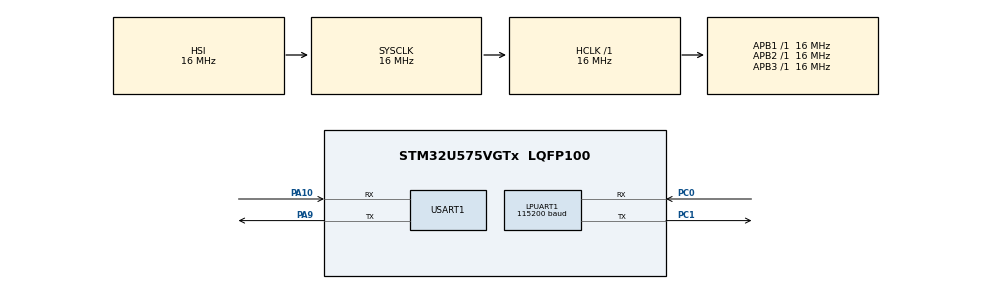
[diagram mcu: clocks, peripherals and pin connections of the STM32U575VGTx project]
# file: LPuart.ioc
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CORTEX_M33_NS.userName=CORTEX_M33
LPUART1.BaudRate=115200
Mcu.Family=STM32U5
Mcu.Name=STM32U575VGTx
Mcu.Package=LQFP100
NVIC.LPUART1_IRQn=true\:0\:0\:false\:false\:true\:true\:true\:true
NVIC.PriorityGroup=NVIC_PRIORITYGROUP_4
NVIC.USART1_IRQn=true\:0\:0\:false\:false\:true\:true\:true\:true
PA10.Mode=Asynchronous
PA10.Signal=USART1_RX
PA13\ (JTMS/SWDIO).Mode=Serial_Wire
PA13\ (JTMS/SWDIO).Signal=DEBUG_JTMS-SWDIO
PA14\ (JTCK/SWCLK).Mode=Serial_Wire
PA14\ (JTCK/SWCLK).Signal=DEBUG_JTCK-SWCLK
PA9.Mode=Asynchronous
PA9.Signal=USART1_TX
PC0.Mode=Asynchronous
PC0.Signal=LPUART1_RX
PC1.Mode=Asynchronous
PC1.Signal=LPUART1_TX
ProjectManager.HeapSize=0x200
ProjectManager.StackSize=0x400
ProjectManager.TargetToolchain=MDK-ARM V5.39
RCC.ADCFreq_Value=16000000
RCC.AHBFreq_Value=16000000
RCC.APB1Freq_Value=16000000
RCC.APB1TimFreq_Value=16000000
RCC.APB2Freq_Value=16000000
RCC.APB2TimFreq_Value=16000000
RCC.APB3Freq_Value=16000000
RCC.CortexFreq_Value=16000000
RCC.EPOD_VALUE=4000000
RCC.HCLKFreq_Value=16000000
RCC.HSE_VALUE=16000000
RCC.HSI48_VALUE=48000000
RCC.HSI_VALUE=16000000
RCC.LSE_VALUE=32768
RCC.LSIDIV_VALUE=32000
RCC.MSI_VALUE=4000000
RCC.SYSCLKFreq_VALUE=16000000
RCC.SYSCLKSource=RCC_SYSCLKSOURCE_HSI
RCC.USBFreq_Value=48000000
RCC.VCOOutputFreq_Value=516000000
USART1.VirtualMode-Asynchronous=VM_ASYNC
VP_LPBAMQUEUE_VS_QUEUE.Mode=QUEUEMODE
VP_LPBAM_VS_SIG1.Mode=SmartRun
VP_LPBAM_VS_SIG4.Mode=LPDMA1
VP_MEMORYMAP_VS_MEMORYMAP.Mode=CurAppReg
VP_PWR_VS_SECSignals.Mode=Security/Privilege
board=custom

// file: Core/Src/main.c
/* USER CODE BEGIN Header */
/**
  ******************************************************************************
  * @file           : main.c
  * @brief          : Board 1 - Transparent bridge: PC (USART1) <-> Board2 (LPUART1)
  *                   Uses ring buffers + non-blocking register-level I/O
  ******************************************************************************
  */
/* USER CODE END Header */
#include "main.h"

/* USER CODE BEGIN Includes */
#include <string.h>
/* USER CODE END Includes */

/* USER CODE BEGIN PD */
#define RING_SIZE 512
/* USER CODE END PD */

UART_HandleTypeDef hlpuart1;
UART_HandleTypeDef huart1;

/* USER CODE BEGIN PV */

/* USART1 (PC) -> LPUART1 (Board2) ring buffer */
volatile uint8_t  pc_ring[RING_SIZE];
volatile uint16_t pc_head = 0;   /* write index */
volatile uint16_t pc_tail = 0;   /* read  index */

/* LPUART1 (Board2) -> USART1 (PC) ring buffer */
volatile uint8_t  b2_ring[RING_SIZE];
volatile uint16_t b2_head = 0;
volatile uint16_t b2_tail = 0;

/* USER CODE END PV */

void SystemClock_Config(void);
static void MX_GPIO_Init(void);
static void MX_LPUART1_UART_Init(void);
static void MX_USART1_UART_Init(void);

int main(void)
{

  /* MCU Configuration--------------------------------------------------------*/

  /* Reset of all peripherals, Initializes the Flash interface and the Systick. */
  HAL_Init();

  /* Configure the system clock */
  SystemClock_Config();

  /* Initialize all configured peripherals */
  MX_GPIO_Init();
  MX_LPUART1_UART_Init();
  MX_USART1_UART_Init();
  /* USER CODE BEGIN 2 */

  /* Disable all UART interrupts - we poll in main loop */
  USART1->CR1  &= ~USART_CR1_RXNEIE_RXFNEIE;
  LPUART1->CR1 &= ~USART_CR1_RXNEIE_RXFNEIE;
  HAL_NVIC_DisableIRQ(USART1_IRQn);
  HAL_NVIC_DisableIRQ(LPUART1_IRQn);

  /* Clear any pending flags */
  USART1->ICR  = 0xFFFFFFFF;
  LPUART1->ICR = 0xFFFFFFFF;

  /* Power-on banner to PC (register-level, no HAL blocking) */
  const char *banner = "[Board1] Bridge Ready\r\n";
  for (const char *p = banner; *p; p++)
  {
    while (!(USART1->ISR & USART_ISR_TXE_TXFNF)) { /* wait TX ready */ }
    USART1->TDR = (uint8_t)(*p);
  }

  /* USER CODE END 2 */

  /* Infinite loop */
  while (1)
  {

    /* USER CODE BEGIN 3 */

    /* ============================================================
     * 1. USART1 RX -> pc_ring   (drain ALL pending bytes)
     * ============================================================ */
    while (USART1->ISR & USART_ISR_RXNE_RXFNE)
    {
      uint8_t data = (uint8_t)(USART1->RDR & 0xFF);
      uint16_t next = (pc_head + 1) % RING_SIZE;
      if (next != pc_tail)
      {
        pc_ring[pc_head] = data;
        pc_head = next;
      }
      /* If ring is full, byte is dropped (shouldn't happen at 115200) */
    }

    /* Clear USART1 error flags to prevent IRQ lockup */
    if (USART1->ISR & (USART_ISR_ORE | USART_ISR_FE | USART_ISR_NE | USART_ISR_PE))
    {
      USART1->ICR = USART_ICR_ORECF | USART_ICR_FECF | USART_ICR_NECF | USART_ICR_PECF;
    }

    /* ============================================================
     * 2. LPUART1 RX -> b2_ring  (drain ALL pending bytes)
     * ============================================================ */
    while (LPUART1->ISR & USART_ISR_RXNE_RXFNE)
    {
      uint8_t data = (uint8_t)(LPUART1->RDR & 0xFF);
      uint16_t next = (b2_head + 1) % RING_SIZE;
      if (next != b2_tail)
      {
        b2_ring[b2_head] = data;
        b2_head = next;
      }
    }

    /* Clear LPUART1 error flags */
    if (LPUART1->ISR & (USART_ISR_ORE | USART_ISR_FE | USART_ISR_NE | USART_ISR_PE))
    {
      LPUART1->ICR = USART_ICR_ORECF | USART_ICR_FECF | USART_ICR_NECF | USART_ICR_PECF;
    }

    /* ============================================================
     * 3. pc_ring -> LPUART1 TX  (send one byte if TX ready)
     * ============================================================ */
    if (pc_head != pc_tail)
    {
      if (LPUART1->ISR & USART_ISR_TXE_TXFNF)
      {
        LPUART1->TDR = pc_ring[pc_tail];
        pc_tail = (pc_tail + 1) % RING_SIZE;
      }
    }

    /* ============================================================
     * 4. b2_ring -> USART1 TX   (send one byte if TX ready)
     * ============================================================ */
    if (b2_head != b2_tail)
    {
      if (USART1->ISR & USART_ISR_TXE_TXFNF)
      {
        USART1->TDR = b2_ring[b2_tail];
        b2_tail = (b2_tail + 1) % RING_SIZE;
      }
    }

  }
  /* USER CODE END 3 */
}

void SystemClock_Config(void)
{
  RCC_OscInitTypeDef RCC_OscInitStruct = {0};
  RCC_ClkInitTypeDef RCC_ClkInitStruct = {0};

  /** Configure the main internal regulator output voltage
  */
  if (HAL_PWREx_ControlVoltageScaling(PWR_REGULATOR_VOLTAGE_SCALE4) != HAL_OK)
  {
    Error_Handler();
  }

  /** Initializes the CPU, AHB and APB buses clocks
  */
  RCC_OscInitStruct.OscillatorType = RCC_OSCILLATORTYPE_HSI;
  RCC_OscInitStruct.HSIState = RCC_HSI_ON;
  RCC_OscInitStruct.HSICalibrationValue = RCC_HSICALIBRATION_DEFAULT;
  RCC_OscInitStruct.PLL.PLLState = RCC_PLL_NONE;
  if (HAL_RCC_OscConfig(&RCC_OscInitStruct) != HAL_OK)
  {
    Error_Handler();
  }

  /** Initializes the CPU, AHB and APB buses clocks
  */
  RCC_ClkInitStruct.ClockType = RCC_CLOCKTYPE_HCLK|RCC_CLOCKTYPE_SYSCLK
                              |RCC_CLOCKTYPE_PCLK1|RCC_CLOCKTYPE_PCLK2
                              |RCC_CLOCKTYPE_PCLK3;
  RCC_ClkInitStruct.SYSCLKSource = RCC_SYSCLKSOURCE_HSI;
  RCC_ClkInitStruct.AHBCLKDivider = RCC_SYSCLK_DIV1;
  RCC_ClkInitStruct.APB1CLKDivider = RCC_HCLK_DIV1;
  RCC_ClkInitStruct.APB2CLKDivider = RCC_HCLK_DIV1;
  RCC_ClkInitStruct.APB3CLKDivider = RCC_HCLK_DIV1;

  if (HAL_RCC_ClockConfig(&RCC_ClkInitStruct, FLASH_LATENCY_1) != HAL_OK)
  {
    Error_Handler();
  }
}

static void MX_LPUART1_UART_Init(void)
{

  hlpuart1.Instance = LPUART1;
  hlpuart1.Init.BaudRate = 115200;
  hlpuart1.Init.WordLength = UART_WORDLENGTH_8B;
  hlpuart1.Init.StopBits = UART_STOPBITS_1;
  hlpuart1.Init.Parity = UART_PARITY_NONE;
  hlpuart1.Init.Mode = UART_MODE_TX_RX;
  hlpuart1.Init.HwFlowCtl = UART_HWCONTROL_NONE;
  hlpuart1.Init.OneBitSampling = UART_ONE_BIT_SAMPLE_DISABLE;
  hlpuart1.Init.ClockPrescaler = UART_PRESCALER_DIV1;
  hlpuart1.AdvancedInit.AdvFeatureInit = UART_ADVFEATURE_NO_INIT;
  hlpuart1.FifoMode = UART_FIFOMODE_DISABLE;
  if (HAL_UART_Init(&hlpuart1) != HAL_OK)
  {
    Error_Handler();
  }
  if (HAL_UARTEx_SetTxFifoThreshold(&hlpuart1, UART_TXFIFO_THRESHOLD_1_8) != HAL_OK)
  {
    Error_Handler();
  }
  if (HAL_UARTEx_SetRxFifoThreshold(&hlpuart1, UART_RXFIFO_THRESHOLD_1_8) != HAL_OK)
  {
    Error_Handler();
  }
  if (HAL_UARTEx_DisableFifoMode(&hlpuart1) != HAL_OK)
  {
    Error_Handler();
  }

}

static void MX_USART1_UART_Init(void)
{

  huart1.Instance = USART1;
  huart1.Init.BaudRate = 115200;
  huart1.Init.WordLength = UART_WORDLENGTH_8B;
  huart1.Init.StopBits = UART_STOPBITS_1;
  huart1.Init.Parity = UART_PARITY_NONE;
  huart1.Init.Mode = UART_MODE_TX_RX;
  huart1.Init.HwFlowCtl = UART_HWCONTROL_NONE;
  huart1.Init.OverSampling = UART_OVERSAMPLING_16;
  huart1.Init.OneBitSampling = UART_ONE_BIT_SAMPLE_DISABLE;
  huart1.Init.ClockPrescaler = UART_PRESCALER_DIV1;
  huart1.AdvancedInit.AdvFeatureInit = UART_ADVFEATURE_NO_INIT;
  if (HAL_UART_Init(&huart1) != HAL_OK)
  {
    Error_Handler();
  }
  if (HAL_UARTEx_SetTxFifoThreshold(&huart1, UART_TXFIFO_THRESHOLD_1_8) != HAL_OK)
  {
    Error_Handler();
  }
  if (HAL_UARTEx_SetRxFifoThreshold(&huart1, UART_RXFIFO_THRESHOLD_1_8) != HAL_OK)
  {
    Error_Handler();
  }
  if (HAL_UARTEx_DisableFifoMode(&huart1) != HAL_OK)
  {
    Error_Handler();
  }

}

static void MX_GPIO_Init(void)
{

  /* GPIO Ports Clock Enable */
  __HAL_RCC_GPIOC_CLK_ENABLE();
  __HAL_RCC_GPIOA_CLK_ENABLE();

}

void Error_Handler(void)
{
  __disable_irq();
  while (1)
  {
  }
}
